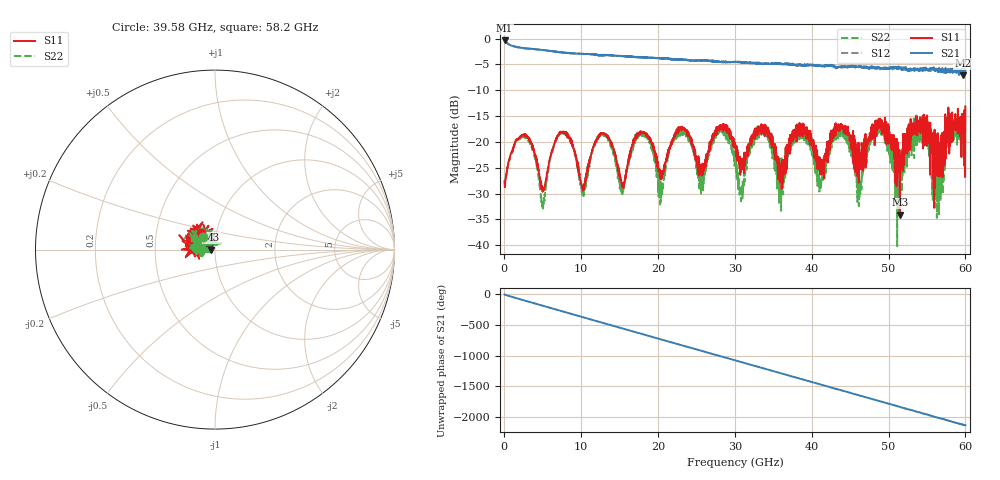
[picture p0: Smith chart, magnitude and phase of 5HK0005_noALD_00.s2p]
! File created by 'SoftPlot +Plus+ Measurement Management Software'
! SoftPlot +Plus+ Measurement Management Software
! Start 40.000000 MHz  Stop 60.000000 GHz  Points 1601
# MHZ S RI R 50
! S-Parameter data, F S11 S21 S12 S22
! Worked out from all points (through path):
!   1601 points, 40 MHz to 60 GHz, reference 50 ohm
!   highest |S21| = -0.37 dB at 40 MHz (marker M1); lowest = -7.1 dB at 59.66 GHz (marker M2)
!   group delay of S21, straight-line fit = 98.7 ps
!   lowest |S11| = -34.1 dB at 51.46 GHz (marker M3), VSWR 1.04, Z = 48.1 + j0.0223 ohm
!   |S11| at or under -10 dB: start of sweep to end of sweep
!   |S22| runs from -40.2 to -14.9 dB; largest |S21 - S12| = 0.064
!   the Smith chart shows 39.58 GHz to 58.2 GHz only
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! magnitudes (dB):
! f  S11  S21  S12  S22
! 40 MHz  -27.7  -0.4  -0.4  -27.4
! 2.663 GHz  -19.0  -1.9  -1.9  -19.2
! 5.062 GHz  -29.5  -2.2  -2.2  -31.6
! 7.647 GHz  -18.2  -2.7  -2.7  -18.4
! 10.05 GHz  -28.1  -3.0  -3.0  -29.1
! 12.71 GHz  -18.4  -3.2  -3.3  -18.5
! 15.37 GHz  -28.0  -3.4  -3.4  -30.1
! 17.73 GHz  -17.9  -3.5  -3.6  -19.0
! 20.05 GHz  -25.6  -3.8  -3.8  -25.7
! 22.97 GHz  -17.2  -4.0  -4.1  -18.9
! 25.56 GHz  -25.6  -4.3  -4.3  -25.8
! 27.96 GHz  -17.0  -4.4  -4.4  -18.3
! 30.02 GHz  -20.7  -4.5  -4.5  -22.8
! 40.03 GHz  -19.7  -5.1  -5.2  -22.5
! 44.04 GHz  -17.5  -5.5  -5.5  -19.0
! 46.17 GHz  -24.0  -5.4  -5.3  -25.9
! 50.03 GHz  -17.1  -5.9  -5.6  -21.1
! 51.46 GHz  -34.1  -5.6  -5.5  -32.4
! 53.67 GHz  -18.5  -5.9  -6.2  -20.6
! 56.25 GHz  -20.6  -5.9  -5.9  -21.4
! 59.66 GHz  -15.0  -7.1  -6.7  -17.4
! 60 GHz  -13.2  -5.9  -6.1  -19.6
